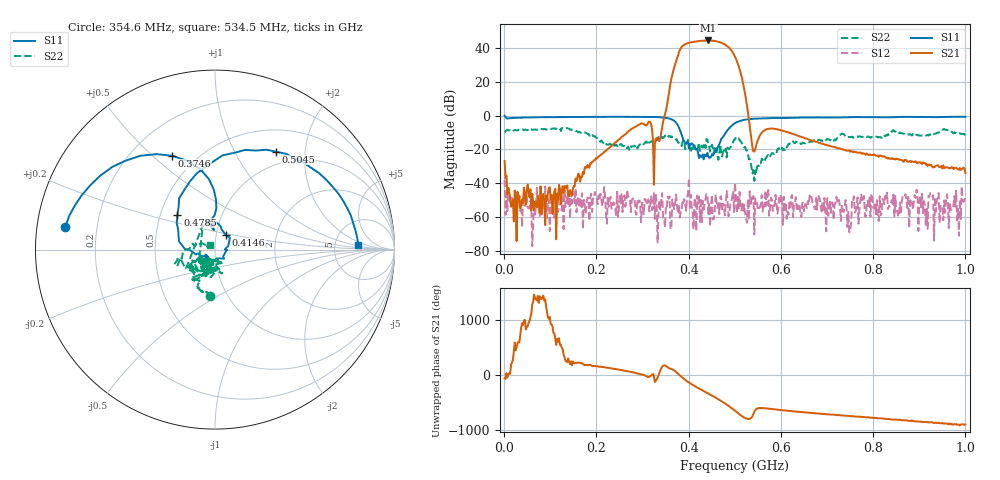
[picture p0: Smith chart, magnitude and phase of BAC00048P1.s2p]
!measured: 2026-10-27T15:23:12
!cal_instance: BBtestOct27
!cal_created: 2026-10-27T14:45
!cal_file: BBtesting.cal
!port1_delay_ps: -58.63
!port2_delay_ps: -59.31
!host: dhcp-10-250-247-203.harvard.edu
! Created with skrf 2.1.0 (http://scikit-rf.org).
# Hz S RI R 50.0
!freq ReS11 ImS11 ReS21 ImS21 ReS12 ImS12 ReS22 ImS22
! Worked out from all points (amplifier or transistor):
!   501 points, 1 MHz to 1 GHz, reference 50 ohm
!   highest |S21| = 44.5 dB at 442.6 MHz (marker M1)
!   |S21| within 3 dB of that: 388.1 MHz to 481.9 MHz (93.79 MHz wide, 21.6 % of centre)
!   unconditionally stable (mu >= 1): start of sweep to 399 MHz; 401 MHz to 482.3 MHz; 500.8 MHz to end of sweep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
!   at 166.8 MHz: K = 2396.42, MAG = -28.0 dB, |S12| = -53.8 dB
!   at 500.5 MHz: K = 0.94, MSG = 37.2 dB, |S12| = -39.6 dB
!   at 1 GHz: K = 793.83, MAG = -24.9 dB, |S12| = -48.0 dB
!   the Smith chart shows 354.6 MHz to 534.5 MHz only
!   S11 on the Smith chart (normalised r, x): 354.6 MHz: 0.09, +0.08; 374.6 MHz: 0.37, +0.58; 414.6 MHz: 1.11, +0.18; 478.5 MHz: 0.61, +0.26; 504.5 MHz: 0.80, +1.49; 534.5 MHz: 8.80, +1.28
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1000000  -0.3446 0.9348  0.0191 -0.0416  0.00984 0.00792  0.3187 -0.0326
1.68832e8  0.506 -0.7628  -0.0139 -0.00665  -0.0028 0.00417  -0.0334 -0.3168
3.34666e8  -0.8303 -0.356  0.1811 -0.0346  0.00122 -0.000442  0.0442 -0.2289
3.54646e8  -0.8337 0.1276  -2.025 1.947  -0.00358 0.00188  -0.0258 -0.2596
3.74626e8  -0.2382 0.5228  38.38 30.84  -0.000504 0.00245  -0.1124 -0.1649
3.84616e8  0.00549 0.2785  88.2 -61.64  0.00072 -0.00122  -0.1072 -0.0655
3.94606e8  -0.0384 0.145  -32.29 -129.7  0.000451 -0.00147  -0.1392 -0.0824
4.04596e8  -0.00853 0.1378  -140.1 -49.69  -0.00447 -0.000946  -0.0156 -0.0787
4.14586e8  0.0607 0.0812  -133.8 77.8  -0.00207 -0.00299  0.00685 -0.1011
4.28572e8  0.045 -0.0389  15.69 163.7  -7.09e-05 -0.000698  -0.0261 -0.1269
4.42558e8  -0.0337 -0.0531  157.2 60.04  0.00127 -0.000108  -0.0354 -0.1342
4.52548e8  -0.0521 -0.0416  149.2 -70.69  -0.000645 0.000553  -0.0243 -0.1076
4.62538e8  -0.1061 -0.0279  44.96 -149.2  -0.00071 -0.00174  0.0139 -0.0651
4.7053e8  -0.1999 0.0447  -57.23 -132  -0.000194 0.00414  -0.05 -0.064
4.78522e8  -0.2092 0.1944  -115.8 -52.37  0.000754 -0.000837  -0.00822 -0.0801
4.9051e8  -0.0552 0.4595  -63.43 67.68  0.00169 -0.00173  -0.0603 -0.0979
5.005e8  0.2288 0.5518  20.89 51.48  0.00923 0.00502  -0.1931 -0.0477
5.04496e8  0.3395 0.546  31.13 27.47  0.000167 0.00128  -0.2229 -0.0768
5.34466e8  0.7993 0.0262  0.0901 -0.2727  -0.000989 -0.00198  -0.0301 0.0281
6.68332e8  0.1 -0.881  0.1626 0.0806  0.00158 0.0023  0.029 -0.1661
8.34166e8  -0.5662 -0.6952  0.00721 -0.0554  0.00204 -0.000722  -0.1733 -0.2107
1e9  -0.8815 -0.2885  -0.0202 0.000667  -0.0039 -0.000726  -0.2505 -0.1555
